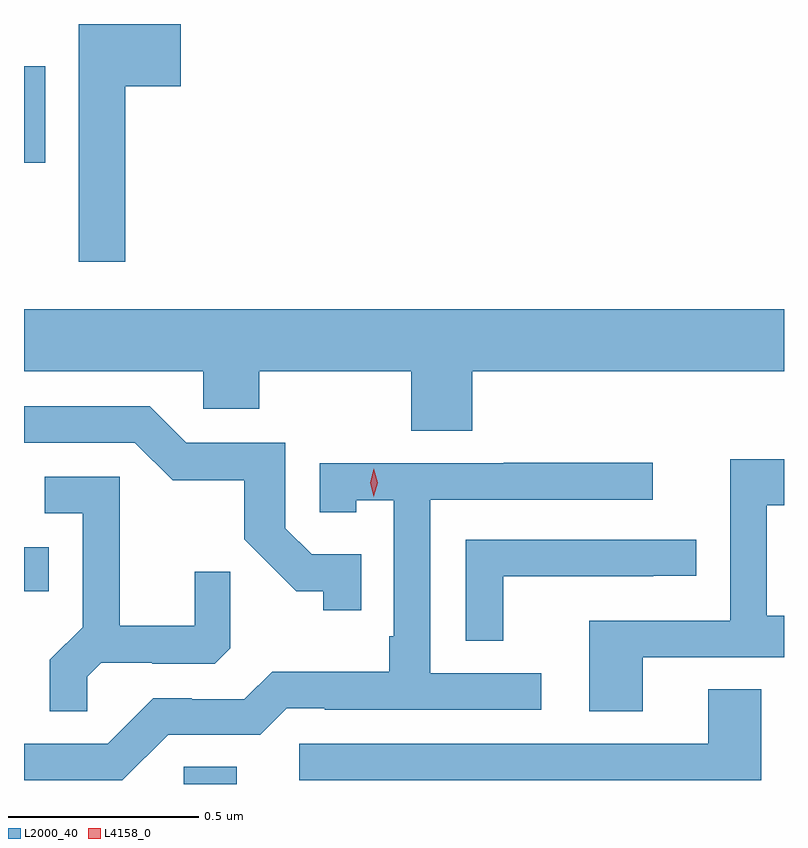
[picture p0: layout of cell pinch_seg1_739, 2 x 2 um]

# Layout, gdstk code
import gdstk
lib = gdstk.Library(unit=1e-6, precision=1e-09)
def R(c, l, rs):  # rectangles x0, y0, x1, y1
    for r in rs: c.add(gdstk.rectangle(r[:2], r[2:], *l))
def P(c, l, *ps):  # polygons
    for p in ps: c.add(gdstk.Polygon(p, *l))
L2000_40 = (2000, 40)
L4158_0 = (4158, 0)

pinch_seg1_739 = lib.new_cell('pinch_seg1_739')
R(pinch_seg1_739, L2000_40, [(746.262,522.674,746.401,522.719), (745.841,523.181,745.906,523.297), (745.841,524.309,745.897,524.563)])
P(pinch_seg1_739, L2000_40, [(746.107,524.51),(746.254,524.51),(746.254,524.674),(745.985,524.674),(745.985,524.049),(746.107,524.049)],
  [(747.02,523.76),(747.841,523.76),(747.841,523.924),(745.841,523.924),(745.841,523.76),(746.313,523.76),(746.313,523.662),(746.46,523.662),(746.46,523.76),(746.86,523.76),(746.86,523.603),(747.02,523.603)],
  [(746.729,523.278),(746.598,523.278),(746.529,523.347),(746.529,523.572),(746.268,523.572),(746.172,523.668),(745.841,523.668),(745.841,523.572),(746.133,523.572),(746.232,523.474),(746.421,523.474),(746.421,523.318),(746.558,523.181),(746.628,523.181),(746.628,523.131),(746.729,523.131)],
  [(747.469,523.008),(747.841,523.008),(747.841,523.117),(747.796,523.117),(747.796,523.408),(747.841,523.408),(747.841,523.528),(747.699,523.528),(747.699,523.104),(747.329,523.104),(747.329,522.865),(747.469,522.865)],
  [(746.22,522.804),(746.463,522.804),(746.532,522.873),(746.632,522.873),(746.632,522.87),(747.202,522.87),(747.202,522.966),(746.91,522.966),(746.91,523.422),(747.496,523.422),(747.496,523.52),(747.103,523.52),(747.103,523.518),(746.619,523.518),(746.619,523.389),(746.715,523.389),(746.715,523.421),(746.814,523.421),(746.814,523.063),(746.802,523.063),(746.802,522.97),(746.494,522.97),(746.421,522.897),(746.282,522.897),(746.282,522.9),(746.181,522.9),(746.061,522.78),(745.841,522.78),(745.841,522.684),(746.1,522.684)],
  [(746.007,522.956),(746.044,522.993),(746.178,522.993),(746.178,522.99),(746.343,522.99),(746.384,523.031),(746.384,523.233),(746.29,523.233),(746.29,523.09),(746.093,523.09),(746.093,523.482),(745.896,523.482),(745.896,523.386),(745.995,523.386),(745.995,523.087),(745.909,523.001),(745.909,522.865),(746.007,522.865)],
  [(747.102,523.221),(747.497,523.221),(747.497,523.222),(747.61,523.222),(747.61,523.317),(747.003,523.317),(747.003,523.051),(747.102,523.051)],
  [(747.781,522.923),(747.641,522.923),(747.641,522.78),(746.565,522.78),(746.565,522.684),(747.781,522.684)])
P(pinch_seg1_739, L4158_0, [(746.762,523.43),(746.762,523.431),(746.752,523.467),(746.762,523.503),(746.762,523.503),(746.762,523.503),(746.772,523.467),(746.762,523.431)])

lib.write_gds('pinch_seg1_739.gds')
